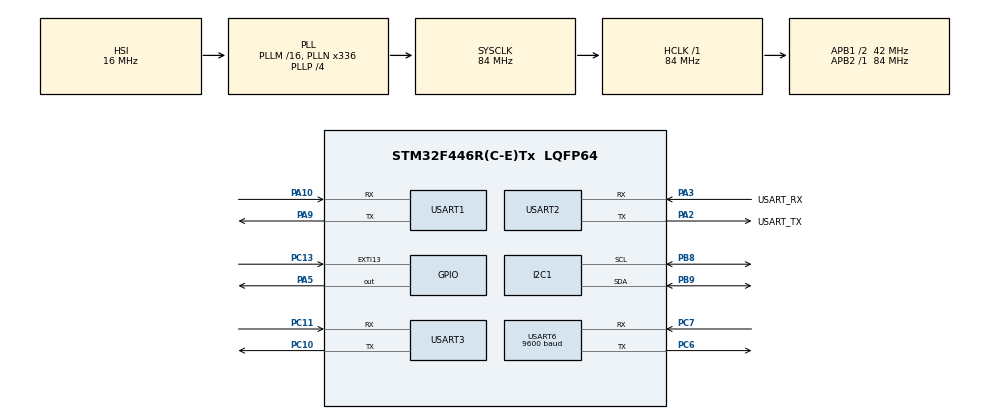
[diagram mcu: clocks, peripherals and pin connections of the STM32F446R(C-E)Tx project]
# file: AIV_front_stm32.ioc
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I2C1.I2C_Mode=I2C_Fast
Mcu.Family=STM32F4
Mcu.Name=STM32F446R(C-E)Tx
Mcu.Package=LQFP64
NUCLEO-F446RE.BUTTON=1
NUCLEO-F446RE.LD1=true
NVIC.EXTI15_10_IRQn=true\:0\:0\:false\:false\:true\:false\:true\:true
NVIC.PriorityGroup=NVIC_PRIORITYGROUP_0
NVIC.USART1_IRQn=true\:0\:0\:false\:false\:true\:true\:true\:true
NVIC.USART2_IRQn=true\:0\:0\:false\:false\:true\:true\:true\:true
NVIC.USART3_IRQn=true\:0\:0\:false\:false\:true\:true\:true\:true
NVIC.USART6_IRQn=true\:0\:0\:false\:false\:true\:true\:true\:true
PA10.Mode=Asynchronous
PA10.Signal=USART1_RX
PA13.GPIO_Label=TMS
PA13.Signal=SYS_JTMS-SWDIO
PA14.GPIO_Label=TCK
PA14.Signal=SYS_JTCK-SWCLK
PA2.GPIO_Label=USART_TX
PA2.Mode=Asynchronous
PA2.Signal=USART2_TX
PA3.GPIO_Label=USART_RX
PA3.Mode=Asynchronous
PA3.Signal=USART2_RX
PA5.Signal=GPIO_Output
PA9.Mode=Asynchronous
PA9.Signal=USART1_TX
PB3.GPIO_Label=SWO
PB3.Signal=SYS_JTDO-SWO
PB8.Mode=I2C
PB8.Signal=I2C1_SCL
PB9.Mode=I2C
PB9.Signal=I2C1_SDA
PC10.Mode=Asynchronous
PC10.Signal=USART3_TX
PC11.Mode=Asynchronous
PC11.Signal=USART3_RX
PC13.Signal=GPXTI13
PC14-OSC32_IN.Signal=RCC_OSC32_IN
PC15-OSC32_OUT.Signal=RCC_OSC32_OUT
PC6.Mode=Asynchronous
PC6.Signal=USART6_TX
PC7.Mode=Asynchronous
PC7.Signal=USART6_RX
PH0-OSC_IN.Signal=RCC_OSC_IN
PH1-OSC_OUT.Signal=RCC_OSC_OUT
ProjectManager.HeapSize=0x200
ProjectManager.StackSize=0x400
ProjectManager.TargetToolchain=STM32CubeIDE
RCC.AHBFreq_Value=84000000
RCC.APB1CLKDivider=RCC_HCLK_DIV2
RCC.APB1Freq_Value=42000000
RCC.APB1TimFreq_Value=84000000
RCC.APB2Freq_Value=84000000
RCC.APB2TimFreq_Value=84000000
RCC.CortexFreq_Value=84000000
RCC.FLatency-AdvancedSettings=FLASH_LATENCY_2
RCC.HCLKFreq_Value=84000000
RCC.HSE_VALUE=8000000
RCC.HSI_VALUE=16000000
RCC.LSE_VALUE=32768
RCC.PLLN=336
RCC.PLLP=RCC_PLLP_DIV4
RCC.SYSCLKFreq_VALUE=84000000
RCC.SYSCLKSource=RCC_SYSCLKSOURCE_PLLCLK
RCC.USBFreq_Value=168000000
RCC.VCOOutputFreq_Value=336000000
USART1.VirtualMode=VM_ASYNC
USART2.VirtualMode=VM_ASYNC
USART3.VirtualMode=VM_ASYNC
USART6.BaudRate=9600
USART6.VirtualMode=VM_ASYNC
VP_NUCLEO-F446RE_VS_BSP_COMMON.Mode=COMMON
board=NUCLEO-F446RE

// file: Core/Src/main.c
/* USER CODE BEGIN Header */
/**
  ******************************************************************************
  * @file           : main.c
  * @brief          : 전방차 STM32 (NUCLEO-F446RE) - IMU/OBD -> RPi4 이진 프레임 송신
  *
  *  후방차 v10 펌웨어에서 레이더(MCP2515/SPI)만 뺀 버전.
  *  - IMU  : USART3 (PC10/PC11) 115200, imu_uart.c 파서
  *  - OBD  : USART6 (PC6/PC7) 9600 (혼다는 응답 없음 -> 3초 주기 저속 폴링, 속도는 GPS 폴백 예정)
  *  - RPi4 : USART1 (PA9/PA10) 115200, 프레임 규격 v0.2 (0x10/0x11/0x13/0x14)
  *  - OLED : I2C1 (PB8 SCL / PB9 SDA), 주소 0x3C
  *  - 디버그: USART2 (ST-Link 가상 COM) 115200
  *  - 워치독 IWDG 약 40ms, 메인 루프 논블로킹
  ******************************************************************************
  */
/* USER CODE END Header */
#include "main.h"

/* USER CODE BEGIN Includes */
#include <string.h>
#include <stdio.h>
#include <stdlib.h>
#include <math.h>
#include "imu_uart.h"
#include "ssd1306.h"    /* OLED (I2C1, 주소 0x3C) */
#include "ssd1306_fonts.h"
/* USER CODE END Includes */

I2C_HandleTypeDef hi2c1;

UART_HandleTypeDef huart1;
UART_HandleTypeDef huart2;
UART_HandleTypeDef huart3;
UART_HandleTypeDef huart6;

/* USER CODE BEGIN PV */
/* IMU 값 출력 주기(200ms)용 */
uint32_t last_imu_print_ms = 0;

/* OBD 자차 속도 (혼다는 OBD 미동작 -> 대부분 "값 없음") */
uint8_t  last_ego_speed_kmh = 0;
uint32_t last_ego_speed_ms  = 0;
uint32_t last_obd_poll = 0;
uint8_t  obd_fail_count = 0;
uint8_t  reset_cause = 2;              /* 0=전원 켬, 1=워치독 리셋, 2=그 외 (HEARTBEAT용) */
uint8_t  oled_ok = 0;                  /* I2C 스캔에서 0x3C가 잡히면 1 */

/* 워치독(IWDG): 메인 루프가 40ms 넘게 멈추면 강제 리셋 (팀 규칙 6: 40ms 기준 임의 변경 금지) */
#define ENABLE_IWDG       1
#define WDG_TEST_HANG_MS  0     /* 0=끔. 예: 15000 이면 부팅 15초 뒤 일부러 멈춰 워치독 시험 */
uint32_t last_oled_ms = 0;
uint32_t oled_retry_ms = 0;           /* [front v4b] OLED 가 꺼져 있을 때 다음 복구 시도 시각 */
uint32_t oled_fail_total = 0;         /* [front v4b] OLED 통신 실패로 OLED 를 끈 누적 횟수 */
uint32_t oled_retry_total = 0;        /* [front v4b] 복구 시도 누적 횟수 */
uint32_t oled_retry_ok_total = 0;     /* [front v4b] 복구 성공 누적 횟수 */
uint32_t oled_push_total = 0;         /* [front v4b] 화면 한 장(전 페이지) 전송 완료 누적 횟수 */
uint32_t oled_stat_ms = 0;            /* [front v4b] OLEDSTAT 출력 시각 */
static uint8_t oled_page = 0xFF;      /* 화면 전송 진행: 0~(페이지수-1)=전송 중, 그 이상=대기 */
#define OLED_PAGES (SSD1306_HEIGHT / 8)
/* USER CODE END PV */

void SystemClock_Config(void);
static void MX_GPIO_Init(void);
static void MX_USART1_UART_Init(void);
static void MX_USART6_UART_Init(void);
static void MX_USART3_UART_Init(void);
static void MX_USART2_UART_Init(void);
static void MX_I2C1_Init(void);
/* USER CODE BEGIN PFP */
void obd_init(void);
void obd_poll_task(void);
void obd_rx_start(void);
void obd_rx_byte_isr(uint32_t now);
void oled_update(void);
void proto_task(void);
void dbg_tx(const uint8_t *p, uint16_t len, uint32_t unused);
void oled_push_step(void);
void ssd1306_UpdatePage(uint8_t page);   /* ssd1306.c에 추가한 함수 */
/* [front v4b] OLED I2C 보호/복구 (ssd1306.c 에 추가한 것들) */
void ssd1306_InitFast(void);
void ssd1306_ClearI2cError(void);
extern volatile uint8_t  ssd1306_i2c_err;
extern volatile uint32_t ssd1306_i2c_err_cnt;
extern volatile uint32_t ssd1306_i2c_hal_err;
extern volatile uint8_t  ssd1306_i2c_hal_st;
static void oled_i2c_bus_recover(void);
static void oled_try_recover(void);
void proto_send_obd(void);
/* USER CODE END PFP */

int main(void)
{

  /* MCU Configuration--------------------------------------------------------*/

  /* Reset of all peripherals, Initializes the Flash interface and the Systick. */
  HAL_Init();

  /* Configure the system clock */
  SystemClock_Config();

  /* Initialize all configured peripherals */
  MX_GPIO_Init();
  MX_USART1_UART_Init();
  MX_USART6_UART_Init();
  MX_USART3_UART_Init();
  MX_USART2_UART_Init();
  MX_I2C1_Init();
  /* USER CODE BEGIN 2 */
  /* [LED 진단] LD2(PA5) 켬 -> 여기까지 도달했다는 표시 */
  {
    GPIO_InitTypeDef led_gpio = {0};
    __HAL_RCC_GPIOA_CLK_ENABLE();
    led_gpio.Pin = GPIO_PIN_5;
    led_gpio.Mode = GPIO_MODE_OUTPUT_PP;
    led_gpio.Pull = GPIO_NOPULL;
    led_gpio.Speed = GPIO_SPEED_FREQ_LOW;
    HAL_GPIO_Init(GPIOA, &led_gpio);
    HAL_GPIO_WritePin(GPIOA, GPIO_PIN_5, GPIO_PIN_SET);
  }

  /* 리셋 원인 기록(HEARTBEAT에 실어 보냄) 후 플래그 클리어 */
  if (RCC->CSR & RCC_CSR_IWDGRSTF)                         reset_cause = 1;
  else if (RCC->CSR & (RCC_CSR_PORRSTF | RCC_CSR_BORRSTF)) reset_cause = 0;
  else                                                     reset_cause = 2;
  __HAL_RCC_CLEAR_RESET_FLAGS();

  /* 디버그 출력(USART2)/RPi 링크(USART1) 송신은 인터럽트 큐 방식: 출력 때문에 메인 루프가 멈추지 않게 함 */
  HAL_NVIC_SetPriority(USART2_IRQn, 7, 0);
  HAL_NVIC_EnableIRQ(USART2_IRQn);
  HAL_NVIC_SetPriority(USART1_IRQn, 6, 0);
  HAL_NVIC_EnableIRQ(USART1_IRQn);

  /* 리셋 원인 출력 (워치독 리셋이면 IWDG로 표시됨) */
  {
    char rc[40];
    int rl = sprintf(rc, "RESET CAUSE: %s\r\n", reset_cause == 1 ? "IWDG (watchdog)" : (reset_cause == 0 ? "power-on" : "other/pin"));
    dbg_tx((uint8_t*)rc, rl, 0);
  }
  { char fw[] = "FW front v4b (OLED I2C guard + diag)\r\n"; dbg_tx((uint8_t*)fw, strlen(fw), 0); }

  { char boot1[] = "BOOT1 (FRONT)\r\n"; dbg_tx((uint8_t*)boot1, strlen(boot1), 100); }

  /* 전원 안정화 대기 (디스플레이 부팅 시간 확보) */
  HAL_Delay(2000);

  /* I2C1 버스 주소 스캔 - OLED(0x3C)가 응답하는지 확인 */
  {
    char scan_msg[64];
    int scan_len;
    uint8_t found_any = 0;

    /* [front v4b] 스캔 전에 I2C 버스를 풀어 준다: OLED 가 이전 재시작 때 통신 중간에 멈춰 SDA 를 붙잡고 있어도 풀림 */
    oled_i2c_bus_recover();

    char start_msg[] = "\r\n--- I2C1 Scan Start ---\r\n";
    dbg_tx((uint8_t*)start_msg, strlen(start_msg), 100);

    for (uint8_t addr = 1; addr < 128; addr++)
    {
      if (HAL_I2C_IsDeviceReady(&hi2c1, (uint16_t)(addr << 1), 1, 10) == HAL_OK)
      {
        scan_len = sprintf(scan_msg, "Found I2C device at 0x%02X\r\n", addr);
        dbg_tx((uint8_t*)scan_msg, scan_len, 100);
        found_any = 1;
        if (addr == 0x3C) oled_ok = 1;
      }
    }
    if (!found_any)
    {
      char none_msg[] = "No I2C device found on I2C1. Check wiring (SCL=PB8, SDA=PB9).\r\n";
      dbg_tx((uint8_t*)none_msg, strlen(none_msg), 100);
    }
    char end_msg[] = "--- I2C1 Scan End ---\r\n\r\n";
    dbg_tx((uint8_t*)end_msg, strlen(end_msg), 100);
  }

  /* OLED 초기화 + 부팅 화면 (0x3C가 잡혔을 때만) */
  if (oled_ok)
  {
    ssd1306_Init();
    ssd1306_Fill(Black);
    ssd1306_SetCursor(0, 0);
    ssd1306_WriteString("AIV FRONT", Font_11x18, White);
    ssd1306_SetCursor(0, 24);
    ssd1306_WriteString("booting...", Font_7x10, White);
    ssd1306_UpdateScreen();
    if (ssd1306_i2c_err)   /* [front v4b] 초기화 중 통신 실패 -> OLED 만 끄고 계속 진행 (주기적으로 복구 시도) */
    {
      oled_ok = 0;
      oled_fail_total++;
      char f[48]; int fl = sprintf(f, "OLED I2C FAIL at boot err=%u\r\n", (unsigned)ssd1306_i2c_err);
      dbg_tx((uint8_t*)f, fl, 0);
    }
  }
  oled_retry_ms = HAL_GetTick() + 3000;   /* [front v4b] OLED 가 꺼져 있으면 3초 뒤부터 복구 시도 */

  /* IMU 초기화 - USART3(huart3, PC10/PC11), 인터럽트 기반 1바이트씩 수신 (모듈 TX -> PC11) */
  IMU_UART_Init(&huart3);
  { char m[] = "IMU UART init done\r\n"; dbg_tx((uint8_t*)m, strlen(m), 100); }

  /* OBD(Seeed Serial CAN-BUS 모듈) 초기화 - USART6(PC6/PC7) */
  obd_init();
  HAL_NVIC_SetPriority(USART6_IRQn, 6, 0);
  HAL_NVIC_EnableIRQ(USART6_IRQn);
  obd_rx_start();
  { char m[] = "OBD-II init done\r\n"; dbg_tx((uint8_t*)m, strlen(m), 100); }

  /* USER CODE END 2 */

  /* Initialize leds */
  BSP_LED_Init(LED2);

  /* Initialize USER push-button, will be used to trigger an interrupt each time it's pressed.*/
  BSP_PB_Init(BUTTON_USER, BUTTON_MODE_EXTI);

  /* Infinite loop */
  /* USER CODE BEGIN WHILE */
#if ENABLE_IWDG
  /* 독립 워치독 시작: LSI 32kHz / 4 = 8kHz, 리로드 320 -> 약 40ms.
     (LSI 실제 주파수 편차로 약 27~75ms 범위. 루프 최대 소요가 9ms 수준이라 여유 있음)
     초기화(부팅 대기, 스캔 등)가 다 끝난 뒤, 메인 루프 바로 앞에서 시작한다. */
  IWDG->KR  = 0xCCCC;   /* 시작 */
  IWDG->KR  = 0x5555;   /* 설정 레지스터 쓰기 허용 */
  IWDG->PR  = 0;        /* 분주 /4 */
  IWDG->RLR = 319;      /* 320 카운트 */
  {
    uint32_t wt = HAL_GetTick();
    while (IWDG->SR != 0 && (HAL_GetTick() - wt) < 50) { }
  }
  IWDG->KR  = 0xAAAA;   /* 첫 kick */
  /* 디버거로 멈췄을 때(브레이크포인트 등) 워치독이 리셋을 걸지 않도록 정지 */
#ifdef DBGMCU_APB1_FZ_DBG_IWDG_STOP
  DBGMCU->APB1FZ |= DBGMCU_APB1_FZ_DBG_IWDG_STOP;
#else
  DBGMCU->APB1FZ |= (1u << 12);
#endif
#endif
  while (1)
  {
    /* [LED 진단] 메인 루프에 도달하면 LD2가 0.5초마다 깜빡임 */
    {
      static uint32_t last_led_ms = 0;
      if (HAL_GetTick() - last_led_ms >= 500)
      {
        last_led_ms = HAL_GetTick();
        HAL_GPIO_TogglePin(GPIOA, GPIO_PIN_5);
      }
    }

    /* 루프 1바퀴 최대 소요시간 측정 (5초마다 출력): 워치독 40ms 기준을 맞출 수 있는지 판단용 */
    {
      static uint32_t lp_last = 0, lp_max = 0, lp_rep = 0;
      uint32_t ln = HAL_GetTick();
      if (lp_last != 0 && (ln - lp_last) > lp_max) lp_max = ln - lp_last;
      lp_last = ln;
      if (ln - lp_rep >= 5000)
      {
        lp_rep = ln;
        char lm[40];
        int ll = sprintf(lm, "LOOP max=%lums\r\n", (unsigned long)lp_max);
        dbg_tx((uint8_t*)lm, ll, 100);
        lp_max = 0;
      }
    }

    /* RPi로 보내는 이진 프레임 (논블로킹: 큐에 넣기만 하고 실제 송신은 인터럽트가 처리) */
    proto_task();

    /* IMU(자세각) 출력: 인터럽트로 계속 갱신되는 g_imu 값을 200ms마다 한 번씩 내보냄.
       실시간 수신 자체는 IMU_UART_ByteReceived가 인터럽트에서 알아서 처리하므로
       여기서는 그냥 "지금 값이 뭔지 가끔 찍어보기"만 함. */
    if (HAL_GetTick() - last_imu_print_ms >= 200)
    {
      last_imu_print_ms = HAL_GetTick();
      if (g_imu.angle_updated)
      {
        int roll10  = (int)(g_imu.roll  * 10.0f);
        int pitch10 = (int)(g_imu.pitch * 10.0f);
        int yaw10   = (int)(g_imu.yaw   * 10.0f);
        char msg[100];
        int len = sprintf(msg, "IMU roll=%s%d.%01d pitch=%s%d.%01d yaw=%s%d.%01d bytes=%lu\r\n",
                           (roll10  < 0 ? "-" : ""), (roll10  < 0 ? -roll10  : roll10)  / 10, (roll10  < 0 ? -roll10  : roll10)  % 10,
                           (pitch10 < 0 ? "-" : ""), (pitch10 < 0 ? -pitch10 : pitch10) / 10, (pitch10 < 0 ? -pitch10 : pitch10) % 10,
                           (yaw10   < 0 ? "-" : ""), (yaw10   < 0 ? -yaw10   : yaw10)   / 10, (yaw10   < 0 ? -yaw10   : yaw10)   % 10,
                           g_byte_count);
        dbg_tx((uint8_t*)msg, len, 100);
      }
      else
      {
        char msg[] = "IMU waiting for data...\r\n";
        dbg_tx((uint8_t*)msg, strlen(msg), 100);
      }
    }

    /* [front v4b] 5초마다 OLED 상태 한 줄 (조용히 실패하는 일이 없도록) */
    if (HAL_GetTick() - oled_stat_ms >= 5000)
    {
        oled_stat_ms = HAL_GetTick();
        char st[160];
        int sl = sprintf(st, "OLEDSTAT ok=%u pushes=%lu fails=%lu retries=%lu retry_ok=%lu err=%u hal_err=0x%lX t=%lu\r\n",
                         (unsigned)oled_ok, (unsigned long)oled_push_total, (unsigned long)oled_fail_total,
                         (unsigned long)oled_retry_total, (unsigned long)oled_retry_ok_total,
                         (unsigned)ssd1306_i2c_err, (unsigned long)ssd1306_i2c_hal_err, (unsigned long)HAL_GetTick());
        dbg_tx((uint8_t*)st, sl, 0);
    }

    /* OLED 화면 갱신 (500ms마다) */
    /* 그림은 500ms마다 새로 그리고, 화면 전송은 한 바퀴에 한 줄(페이지)씩 나눠서 한다 (약 3ms씩) */
    if (oled_ok)
    {
      if (oled_page >= OLED_PAGES)
      {
        if (HAL_GetTick() - last_oled_ms >= 500)
        {
          last_oled_ms = HAL_GetTick();
          oled_update();   /* 버퍼에 그리기만 함 (전송은 아래 oled_push_step) */
        }
      }
      else
      {
        oled_push_step();
      }

      /* [front v4b] OLED 통신 실패 -> OLED 만 끄고 STM32 는 계속 동작 */
      if (ssd1306_i2c_err)
      {
        oled_ok = 0;
        oled_page = 0xFF;
        oled_fail_total++;
        oled_retry_ms = HAL_GetTick() + 1000;
        char f[96];
        int fl = sprintf(f, "OLED I2C FAIL err=%u hal=%u i2cerr=0x%lX cnt=%lu t=%lu\r\n",
                         (unsigned)ssd1306_i2c_err, (unsigned)ssd1306_i2c_hal_st,
                         (unsigned long)ssd1306_i2c_hal_err, (unsigned long)ssd1306_i2c_err_cnt,
                         (unsigned long)HAL_GetTick());
        dbg_tx((uint8_t*)f, fl, 0);
      }
    }
    else if (HAL_GetTick() >= oled_retry_ms)
    {
      oled_try_recover();   /* [front v4b] 꺼진 OLED 를 3초마다 한 번씩 되살려 본다 (1~수 ms) */
    }

    /* OBD-II 속도 폴링 (논블로킹) */
    obd_poll_task();

    /* USER CODE END WHILE */

    /* USER CODE BEGIN 3 */
#if ENABLE_IWDG
    IWDG->KR = 0xAAAA;   /* 워치독 kick: 루프 한 바퀴가 정상적으로 끝났을 때만 */
#endif

#if WDG_TEST_HANG_MS
    if (HAL_GetTick() > WDG_TEST_HANG_MS)
    {
      char hm[] = "WDG TEST: hanging on purpose\r\n";
      dbg_tx((uint8_t*)hm, strlen(hm), 0);
      while (1) { }   /* kick 안 함 -> 약 40ms 뒤 리셋되어야 함 */
    }
#endif
  }
  /* USER CODE END 3 */
}

void SystemClock_Config(void)
{
  RCC_OscInitTypeDef RCC_OscInitStruct = {0};
  RCC_ClkInitTypeDef RCC_ClkInitStruct = {0};

  /** Configure the main internal regulator output voltage
  */
  __HAL_RCC_PWR_CLK_ENABLE();
  __HAL_PWR_VOLTAGESCALING_CONFIG(PWR_REGULATOR_VOLTAGE_SCALE3);

  /** Initializes the RCC Oscillators according to the specified parameters
  * in the RCC_OscInitTypeDef structure.
  */
  RCC_OscInitStruct.OscillatorType = RCC_OSCILLATORTYPE_HSI;
  RCC_OscInitStruct.HSIState = RCC_HSI_ON;
  RCC_OscInitStruct.HSICalibrationValue = RCC_HSICALIBRATION_DEFAULT;
  RCC_OscInitStruct.PLL.PLLState = RCC_PLL_ON;
  RCC_OscInitStruct.PLL.PLLSource = RCC_PLLSOURCE_HSI;
  RCC_OscInitStruct.PLL.PLLM = 16;
  RCC_OscInitStruct.PLL.PLLN = 336;
  RCC_OscInitStruct.PLL.PLLP = RCC_PLLP_DIV4;
  RCC_OscInitStruct.PLL.PLLQ = 2;
  RCC_OscInitStruct.PLL.PLLR = 2;
  if (HAL_RCC_OscConfig(&RCC_OscInitStruct) != HAL_OK)
  {
    Error_Handler();
  }

  /** Initializes the CPU, AHB and APB buses clocks
  */
  RCC_ClkInitStruct.ClockType = RCC_CLOCKTYPE_HCLK|RCC_CLOCKTYPE_SYSCLK
                              |RCC_CLOCKTYPE_PCLK1|RCC_CLOCKTYPE_PCLK2;
  RCC_ClkInitStruct.SYSCLKSource = RCC_SYSCLKSOURCE_PLLCLK;
  RCC_ClkInitStruct.AHBCLKDivider = RCC_SYSCLK_DIV1;
  RCC_ClkInitStruct.APB1CLKDivider = RCC_HCLK_DIV2;
  RCC_ClkInitStruct.APB2CLKDivider = RCC_HCLK_DIV1;

  if (HAL_RCC_ClockConfig(&RCC_ClkInitStruct, FLASH_LATENCY_2) != HAL_OK)
  {
    Error_Handler();
  }
}

static void MX_I2C1_Init(void)
{

  hi2c1.Instance = I2C1;
  hi2c1.Init.ClockSpeed = 400000;
  hi2c1.Init.DutyCycle = I2C_DUTYCYCLE_2;
  hi2c1.Init.OwnAddress1 = 0;
  hi2c1.Init.AddressingMode = I2C_ADDRESSINGMODE_7BIT;
  hi2c1.Init.DualAddressMode = I2C_DUALADDRESS_DISABLE;
  hi2c1.Init.OwnAddress2 = 0;
  hi2c1.Init.GeneralCallMode = I2C_GENERALCALL_DISABLE;
  hi2c1.Init.NoStretchMode = I2C_NOSTRETCH_DISABLE;
  if (HAL_I2C_Init(&hi2c1) != HAL_OK)
  {
    Error_Handler();
  }

}

static void MX_USART1_UART_Init(void)
{

  huart1.Instance = USART1;
  huart1.Init.BaudRate = 115200;
  huart1.Init.WordLength = UART_WORDLENGTH_8B;
  huart1.Init.StopBits = UART_STOPBITS_1;
  huart1.Init.Parity = UART_PARITY_NONE;
  huart1.Init.Mode = UART_MODE_TX_RX;
  huart1.Init.HwFlowCtl = UART_HWCONTROL_NONE;
  huart1.Init.OverSampling = UART_OVERSAMPLING_16;
  if (HAL_UART_Init(&huart1) != HAL_OK)
  {
    Error_Handler();
  }

}

static void MX_USART2_UART_Init(void)
{

  huart2.Instance = USART2;
  huart2.Init.BaudRate = 115200;
  huart2.Init.WordLength = UART_WORDLENGTH_8B;
  huart2.Init.StopBits = UART_STOPBITS_1;
  huart2.Init.Parity = UART_PARITY_NONE;
  huart2.Init.Mode = UART_MODE_TX_RX;
  huart2.Init.HwFlowCtl = UART_HWCONTROL_NONE;
  huart2.Init.OverSampling = UART_OVERSAMPLING_16;
  if (HAL_UART_Init(&huart2) != HAL_OK)
  {
    Error_Handler();
  }

}

static void MX_USART3_UART_Init(void)
{

  huart3.Instance = USART3;
  huart3.Init.BaudRate = 115200;
  huart3.Init.WordLength = UART_WORDLENGTH_8B;
  huart3.Init.StopBits = UART_STOPBITS_1;
  huart3.Init.Parity = UART_PARITY_NONE;
  huart3.Init.Mode = UART_MODE_TX_RX;
  huart3.Init.HwFlowCtl = UART_HWCONTROL_NONE;
  huart3.Init.OverSampling = UART_OVERSAMPLING_16;
  if (HAL_UART_Init(&huart3) != HAL_OK)
  {
    Error_Handler();
  }

}

static void MX_USART6_UART_Init(void)
{

  huart6.Instance = USART6;
  huart6.Init.BaudRate = 9600;
  huart6.Init.WordLength = UART_WORDLENGTH_8B;
  huart6.Init.StopBits = UART_STOPBITS_1;
  huart6.Init.Parity = UART_PARITY_NONE;
  huart6.Init.Mode = UART_MODE_TX_RX;
  huart6.Init.HwFlowCtl = UART_HWCONTROL_NONE;
  huart6.Init.OverSampling = UART_OVERSAMPLING_16;
  if (HAL_UART_Init(&huart6) != HAL_OK)
  {
    Error_Handler();
  }

}

static void MX_GPIO_Init(void)
{

  /* GPIO Ports Clock Enable */
  __HAL_RCC_GPIOC_CLK_ENABLE();
  __HAL_RCC_GPIOH_CLK_ENABLE();
  __HAL_RCC_GPIOA_CLK_ENABLE();
  __HAL_RCC_GPIOB_CLK_ENABLE();

}

/* USER CODE BEGIN 4 */
/* IMU 모듈이 1바이트씩 보낼 때마다 HAL이 자동으로 호출해주는 콜백.
   USART3(huart3, PC10/PC11)로 들어온 바이트만 imu_uart.c의 파서로 넘긴다. */
void HAL_UART_RxCpltCallback(UART_HandleTypeDef *huart)
{
  if (huart->Instance == USART3)
  {
    IMU_UART_ByteReceived(huart);
  }
  else if (huart->Instance == USART6)
  {
    obd_rx_byte_isr(HAL_GetTick());
  }
}

/* ===== OLED 표시 =====
   128x64 화면, 6x8 폰트 -> 한 줄 21글자, 7줄 표시.
   값 x10 정수를 "-12.3" 형태 문자열로 만드는 도우미 (nano.specs가 %f 미지원이라 정수로 처리) */
static void fmt10(char *out, int v10)
{
    int a = (v10 < 0) ? -v10 : v10;
    sprintf(out, "%s%d.%d", (v10 < 0 ? "-" : ""), a / 10, a % 10);
}

/* ===== [front v4b] OLED I2C 버스 복구 / 재시도 (후방차 v18c 와 같은 방식, I2C1: SCL=PB8, SDA=PB9) =====
   I2C 통신 도중 STM32 가 재시작되거나 노이즈가 끼면 OLED 가 SDA 선을 Low 로 붙잡은 채 멈출 수 있다.
   SCL 을 최대 9번 흔들어 OLED 가 하던 바이트를 끝내게 하고 STOP 조건을 보내면 풀린다. 소요 약 0.2 ms 이하. */
static void oled_us_delay(uint32_t us)
{
    uint32_t n = (SystemCoreClock / 1000000U) * us / 8U + 1U;
    for (volatile uint32_t i = 0; i < n; i++) { }
}

static void oled_i2c_bus_recover(void)
{
    GPIO_InitTypeDef g = {0};
    HAL_I2C_DeInit(&hi2c1);
    __HAL_RCC_GPIOB_CLK_ENABLE();
    g.Mode  = GPIO_MODE_OUTPUT_OD;
    g.Pull  = GPIO_NOPULL;
    g.Speed = GPIO_SPEED_FREQ_LOW;
    g.Pin = GPIO_PIN_8; HAL_GPIO_Init(GPIOB, &g);    /* SCL */
    g.Pin = GPIO_PIN_9; HAL_GPIO_Init(GPIOB, &g);    /* SDA */
    HAL_GPIO_WritePin(GPIOB, GPIO_PIN_8, GPIO_PIN_SET);
    HAL_GPIO_WritePin(GPIOB, GPIO_PIN_9, GPIO_PIN_SET);
    oled_us_delay(10);
    for (uint8_t i = 0; i < 9; i++)
    {
        if (HAL_GPIO_ReadPin(GPIOB, GPIO_PIN_9) == GPIO_PIN_SET) break;
        HAL_GPIO_WritePin(GPIOB, GPIO_PIN_8, GPIO_PIN_RESET); oled_us_delay(5);
        HAL_GPIO_WritePin(GPIOB, GPIO_PIN_8, GPIO_PIN_SET);   oled_us_delay(5);
    }
    HAL_GPIO_WritePin(GPIOB, GPIO_PIN_9, GPIO_PIN_RESET); oled_us_delay(5);
    HAL_GPIO_WritePin(GPIOB, GPIO_PIN_8, GPIO_PIN_SET);   oled_us_delay(5);
    HAL_GPIO_WritePin(GPIOB, GPIO_PIN_9, GPIO_PIN_SET);   oled_us_delay(5);
    HAL_I2C_Init(&hi2c1);
}

static void oled_try_recover(void)
{
    char r[96];
    int rl;
    oled_retry_ms = HAL_GetTick() + 3000;
    oled_retry_total++;
    oled_i2c_bus_recover();
    ssd1306_ClearI2cError();
    if (__HAL_I2C_GET_FLAG(&hi2c1, I2C_FLAG_BUSY))
    {
        rl = sprintf(r, "OLED RETRY #%lu: bus BUSY (SDA/SCL stuck) t=%lu\r\n", (unsigned long)oled_retry_total, (unsigned long)HAL_GetTick());
        dbg_tx((uint8_t*)r, rl, 0);
        return;
    }
    if (HAL_I2C_IsDeviceReady(&hi2c1, (uint16_t)(0x3C << 1), 1, 3) != HAL_OK)
    {
        rl = sprintf(r, "OLED RETRY #%lu: no ACK from 0x3C t=%lu\r\n", (unsigned long)oled_retry_total, (unsigned long)HAL_GetTick());
        dbg_tx((uint8_t*)r, rl, 0);
        return;
    }
    ssd1306_InitFast();
    if (ssd1306_i2c_err)
    {
        rl = sprintf(r, "OLED RETRY #%lu: init write failed err=%u t=%lu\r\n", (unsigned long)oled_retry_total, (unsigned)ssd1306_i2c_err, (unsigned long)HAL_GetTick());
        dbg_tx((uint8_t*)r, rl, 0);
        ssd1306_ClearI2cError();
        return;
    }
    oled_ok = 1;
    oled_page = 0xFF;
    last_oled_ms = 0;
    oled_retry_ok_total++;
    rl = sprintf(r, "OLED RECOVERED t=%lu fails=%lu retries=%lu\r\n", (unsigned long)HAL_GetTick(), (unsigned long)oled_fail_total, (unsigned long)oled_retry_total);
    dbg_tx((uint8_t*)r, rl, 0);
}

/* 화면 버퍼의 한 페이지(128바이트)를 전송: 호출될 때마다 다음 페이지로 넘어간다 */
void oled_push_step(void)
{
    if (oled_page < OLED_PAGES)
    {
        ssd1306_UpdatePage(oled_page);
        oled_page++;
        if (oled_page >= OLED_PAGES && !ssd1306_i2c_err) oled_push_total++;   /* [front v4b] 한 장 전송 완료 */
    }
}

extern volatile uint32_t tx_drop_count;
static uint8_t imu_is_ok(uint32_t now);

void oled_update(void)
{
    char line[48];
    char a[16], b[16], c[16];
    uint32_t now = HAL_GetTick();

    ssd1306_Fill(Black);

    sprintf(line, "AIV FRONT  %s", reset_cause == 1 ? "WDG-RST" : "");
    ssd1306_SetCursor(0, 0);  ssd1306_WriteString(line, Font_6x8, White);

    sprintf(line, "IMU: %s", imu_is_ok(now) ? "OK" : "NO DATA");
    ssd1306_SetCursor(0, 9);  ssd1306_WriteString(line, Font_6x8, White);

    if (last_ego_speed_ms != 0 && (now - last_ego_speed_ms) < 1000)
        sprintf(line, "OBD SPD: %dkm/h", last_ego_speed_kmh);
    else
        sprintf(line, "OBD SPD: --- (none)");
    ssd1306_SetCursor(0, 18); ssd1306_WriteString(line, Font_6x8, White);

    sprintf(line, "RPi TX drop: %lu", (unsigned long)tx_drop_count);
    ssd1306_SetCursor(0, 27); ssd1306_WriteString(line, Font_6x8, White);

    if (g_imu.angle_updated)
    {
        fmt10(a, (int)(g_imu.roll  * 10.0f));
        fmt10(b, (int)(g_imu.pitch * 10.0f));
        fmt10(c, (int)(g_imu.yaw   * 10.0f));
        sprintf(line, "R:%s P:%s", a, b);
        ssd1306_SetCursor(0, 36); ssd1306_WriteString(line, Font_6x8, White);
        sprintf(line, "YAW:%s", c);
        ssd1306_SetCursor(0, 45); ssd1306_WriteString(line, Font_6x8, White);
    }
    else
    {
        ssd1306_SetCursor(0, 36); ssd1306_WriteString("IMU: waiting...", Font_6x8, White);
    }

    oled_page = 0;   /* 이제부터 페이지를 한 줄씩 전송 */
}

/* =====================================================================
   STM32 -> RPi 이진 프레임 송신  (규격: AIV_STM32-RPi_UART_메시지규격_v0.2.md)
   프레임: STX(02) TYPE LEN PAYLOAD XOR(TYPE^LEN^PAYLOAD) ETX(03), 리틀엔디안
   - 송신은 링 버퍼에 넣기만 하고 UART 인터럽트가 뒤에서 내보냄 (메인 루프 블로킹 없음)
   - 버퍼가 가득 차면 그 프레임은 버림(재시도 없음): tx_drop_count 증가
   ===================================================================== */
#define PROTO_STX          0x02
#define PROTO_ETX          0x03
#define PROTO_MAX_PAYLOAD  27
#define TX_BUF_SIZE        512

#define MSG_SENSOR_SUMMARY 0x10
#define MSG_HEARTBEAT      0x11
#define MSG_RADAR_OBJECT   0x12   /* 전방차는 레이더 없음: 사용 안 함 */
#define MSG_IMU_DATA       0x13
#define MSG_OBD_DATA       0x14

/* SENSOR_STATUS 비트 */
#define ST_RADAR_OK    (1u << 0)
#define ST_IMU_OK      (1u << 1)
#define ST_OBD_OK      (1u << 2)
#define ST_CAN_CTRL_OK (1u << 3)
#define ST_SAFE_MODE   (1u << 4)
#define ST_BRAKE       (1u << 5)

/* IMU 차량 기준축 변환 (+X 전방, +Y 좌측, +Z 위). 센서 장착 방향이 확정되면 부호를 맞출 것 */
#define IMU_SIGN_X   (+1)
#define IMU_SIGN_Y   (+1)
#define IMU_SIGN_Z   (+1)

/* 브레이크 추정: 전방 가속도 <= -100mg 가 3샘플(20Hz 기준 150ms) 이어지면 ON, -80mg보다 커지면 OFF (제안값) */
#define BRAKE_ON_MG    (-100)
#define BRAKE_OFF_MG   (-80)
#define BRAKE_ON_COUNT 3

#define SENSOR_TIMEOUT_MS 100   /* 센서 타임아웃 기준 (규칙 5: 임의 변경 금지) */
#define OBD_FRESH_MS      500   /* OBD는 폴링 주기가 ~300ms라 500ms 기준 (제안) */

static uint8_t           tx_buf[TX_BUF_SIZE];
static volatile uint16_t tx_head = 0, tx_tail = 0, tx_chunk = 0;
static volatile uint8_t  tx_busy = 0;
volatile uint32_t        tx_drop_count = 0;   /* 버퍼 가득 참으로 버린 프레임 수(진단용) */

static uint32_t imu_last_bytes_seen = 0;
static uint32_t imu_last_rx_ms = 0;           /* IMU 바이트가 마지막으로 들어온 시각 */
static uint8_t  brake_active = 0;
static uint8_t  brake_cnt = 0;

static void put_u16(uint8_t *p, uint16_t v) { p[0] = (uint8_t)v; p[1] = (uint8_t)(v >> 8); }
static void put_u32(uint8_t *p, uint32_t v) { p[0] = (uint8_t)v; p[1] = (uint8_t)(v >> 8); p[2] = (uint8_t)(v >> 16); p[3] = (uint8_t)(v >> 24); }
static int16_t clamp16(int32_t v) { return (v > 32767) ? 32767 : ((v < -32768) ? -32768 : (int16_t)v); }
static int8_t  clamp8(int32_t v)  { return (v > 127) ? 127 : ((v < -128) ? -128 : (int8_t)v); }

/* 링 버퍼에서 한 덩어리를 꺼내 인터럽트 송신 시작 (인터럽트 금지 상태 또는 ISR에서 호출) */
static void uart_tx_kick(void)
{
    if (tx_busy || tx_head == tx_tail) return;
    uint16_t len = (tx_head > tx_tail) ? (uint16_t)(tx_head - tx_tail) : (uint16_t)(TX_BUF_SIZE - tx_tail);
    if (HAL_UART_Transmit_IT(&huart1, &tx_buf[tx_tail], len) == HAL_OK)
    {
        tx_chunk = len;
        tx_busy = 1;
    }
}

/* 프레임을 만들어 송신 큐에 넣는다. 성공 1, 버퍼 부족/길이 오류로 버림 0. 절대 기다리지 않는다. */
static uint8_t proto_send(uint8_t type, const uint8_t *payload, uint8_t len)
{
    if (len > PROTO_MAX_PAYLOAD) return 0;

    uint8_t frame[5 + PROTO_MAX_PAYLOAD];
    uint8_t chk = (uint8_t)(type ^ len);
    frame[0] = PROTO_STX;
    frame[1] = type;
    frame[2] = len;
    for (uint8_t i = 0; i < len; i++) { frame[3 + i] = payload[i]; chk ^= payload[i]; }
    frame[3 + len] = chk;
    frame[4 + len] = PROTO_ETX;
    uint16_t total = (uint16_t)(len + 5);

    uint32_t primask = __get_PRIMASK();
    __disable_irq();
    uint16_t used = (uint16_t)((tx_head - tx_tail + TX_BUF_SIZE) % TX_BUF_SIZE);
    uint16_t freesp = (uint16_t)(TX_BUF_SIZE - 1 - used);
    if (freesp < total)
    {
        tx_drop_count++;
        __set_PRIMASK(primask);
        return 0;
    }
    for (uint16_t i = 0; i < total; i++)
    {
        tx_buf[tx_head] = frame[i];
        tx_head = (uint16_t)((tx_head + 1) % TX_BUF_SIZE);
    }
    uart_tx_kick();
    __set_PRIMASK(primask);
    return 1;
}

/* ---- 디버그 텍스트(USART2) 논블로킹 송신 ----
   HAL_UART_Transmit은 전송이 끝날 때까지 기다려서 메인 루프를 수 ms씩 멈췄다.
   지금은 링 버퍼에 복사만 하고 실제 송신은 인터럽트가 한다. 가득 차면 그 메시지는 버림(디버그용이라 무방). */
#define DBG_BUF_SIZE 1024
static uint8_t           dbg_buf[DBG_BUF_SIZE];
static volatile uint16_t dbg_head = 0, dbg_tail = 0, dbg_chunk = 0;
static volatile uint8_t  dbg_busy = 0;
volatile uint32_t        dbg_drop_count = 0;

static void dbg_kick(void)
{
    if (dbg_busy || dbg_head == dbg_tail) return;
    uint16_t len = (dbg_head > dbg_tail) ? (uint16_t)(dbg_head - dbg_tail) : (uint16_t)(DBG_BUF_SIZE - dbg_tail);
    if (HAL_UART_Transmit_IT(&huart2, &dbg_buf[dbg_tail], len) == HAL_OK)
    {
        dbg_chunk = len;
        dbg_busy = 1;
    }
}

void dbg_tx(const uint8_t *p, uint16_t len, uint32_t unused)
{
    (void)unused;
    uint32_t primask = __get_PRIMASK();
    __disable_irq();
    uint16_t used = (uint16_t)((dbg_head - dbg_tail + DBG_BUF_SIZE) % DBG_BUF_SIZE);
    uint16_t freesp = (uint16_t)(DBG_BUF_SIZE - 1 - used);
    if (freesp < len)
    {
        dbg_drop_count++;
        __set_PRIMASK(primask);
        return;
    }
    for (uint16_t i = 0; i < len; i++)
    {
        dbg_buf[dbg_head] = p[i];
        dbg_head = (uint16_t)((dbg_head + 1) % DBG_BUF_SIZE);
    }
    dbg_kick();
    __set_PRIMASK(primask);
}

/* 송신 한 덩어리 완료 -> 꼬리 이동 후 남은 게 있으면 이어서 송신 */
void HAL_UART_TxCpltCallback(UART_HandleTypeDef *huart)
{
    if (huart->Instance == USART1)
    {
        tx_tail = (uint16_t)((tx_tail + tx_chunk) % TX_BUF_SIZE);
        tx_busy = 0;
        uart_tx_kick();
    }
    else if (huart->Instance == USART2)
    {
        dbg_tail = (uint16_t)((dbg_tail + dbg_chunk) % DBG_BUF_SIZE);
        dbg_busy = 0;
        dbg_kick();
    }
}

/* UART 오류: RPi 링크는 현재 덩어리를 포기하고 계속, IMU는 수신을 다시 시작(오버런 시 수신이 멈추기 때문) */
void HAL_UART_ErrorCallback(UART_HandleTypeDef *huart)
{
    if (huart->Instance == USART1)
    {
        tx_tail = (uint16_t)((tx_tail + tx_chunk) % TX_BUF_SIZE);
        tx_busy = 0;
        tx_chunk = 0;
        uart_tx_kick();
    }
    else if (huart->Instance == USART3)
    {
        IMU_UART_Init(&huart3);
    }
    else if (huart->Instance == USART6)
    {
        obd_rx_start();   /* OBD 수신 오류(오버런 등) 후 수신 재시작 */
    }
    else if (huart->Instance == USART2)
    {
        dbg_tail = (uint16_t)((dbg_tail + dbg_chunk) % DBG_BUF_SIZE);
        dbg_busy = 0;
        dbg_chunk = 0;
        dbg_kick();
    }
}

static uint8_t imu_is_ok(uint32_t now)  { return (imu_last_rx_ms != 0) && ((now - imu_last_rx_ms) <= SENSOR_TIMEOUT_MS); }
static uint8_t obd_is_ok(uint32_t now)  { return (last_ego_speed_ms != 0) && ((now - last_ego_speed_ms) <= OBD_FRESH_MS); }

/* 전방차: 레이더/CAN 컨트롤러 없음 -> RADAR_OK, CAN_CTRL_OK 비트는 항상 0.
   IMU가 끊기면 SAFE_MODE. */
static uint8_t build_sensor_status(uint32_t now)
{
    uint8_t st = 0;
    uint8_t imu_ok = imu_is_ok(now);
    if (imu_ok)         st |= ST_IMU_OK;
    if (obd_is_ok(now)) st |= ST_OBD_OK;
    if (!imu_ok)        st |= ST_SAFE_MODE;
    if (brake_active)   st |= ST_BRAKE;
    return st;
}

/* 0x14 OBD_DATA */
void proto_send_obd(void)
{
    uint32_t now = HAL_GetTick();
    uint8_t p[5];
    if (last_ego_speed_ms != 0)
    {
        uint32_t age = now - last_ego_speed_ms;
        p[0] = last_ego_speed_kmh;
        put_u16(&p[3], (uint16_t)((age > 0xFFFE) ? 0xFFFE : age));
    }
    else
    {
        p[0] = 0xFF;
        put_u16(&p[3], 0xFFFF);
    }
    put_u16(&p[1], 0xFFFF);   /* RPM: 아직 폴링 안 함(PID 0x0C 미구현) */
    proto_send(MSG_OBD_DATA, p, 5);
}

/* 주기 송신: 50Hz SENSOR_SUMMARY, 10Hz HEARTBEAT, 20Hz IMU_DATA. 메인 루프에서 매번 호출(즉시 리턴). */
void proto_task(void)
{
    static uint32_t t_sum = 0, t_hb = 0, t_imu = 0;
    uint32_t now = HAL_GetTick();

    /* IMU 수신 신선도: 바이트 카운터가 움직이면 데이터가 들어오는 중 */
    if (g_byte_count != imu_last_bytes_seen)
    {
        imu_last_bytes_seen = g_byte_count;
        imu_last_rx_ms = (now == 0) ? 1 : now;
    }

    /* 0x10 SENSOR_SUMMARY (50Hz = 20ms) */
    if (now - t_sum >= 20)
    {
        t_sum = now;
        uint16_t tgt = 0xFFFF;             /* 전방차: 레이더 없음 -> 목표거리 없음 */
        int16_t  rel = 0x7FFF;
        uint8_t p[11];
        put_u32(&p[0], now);
        p[4] = 0xFF;                       /* K_VALUE: 계산 로직 미구현 -> 0xFF(계산 안 됨) */
        put_u16(&p[5], tgt);
        put_u16(&p[7], (uint16_t)rel);
        p[9] = 0xFF;                       /* DANGER_FLAG: 판단 로직 미구현 -> 0xFF(판단 불가) */
        p[10] = build_sensor_status(now);
        proto_send(MSG_SENSOR_SUMMARY, p, 11);
    }

    /* 0x11 HEARTBEAT (10Hz = 100ms) */
    if (now - t_hb >= 100)
    {
        t_hb = now;
        uint8_t p[6];
        put_u32(&p[0], now);
        p[4] = build_sensor_status(now);
        p[5] = reset_cause;
        proto_send(MSG_HEARTBEAT, p, 6);
    }

    /* 0x13 IMU_DATA (20Hz = 50ms) + 브레이크 추정 */
    if (now - t_imu >= 50)
    {
        t_imu = now;
        uint8_t imu_ok = imu_is_ok(now);

        int16_t ax = clamp16((int32_t)(IMU_SIGN_X * g_imu.accel_x * 1000.0f));
        int16_t ay = clamp16((int32_t)(IMU_SIGN_Y * g_imu.accel_y * 1000.0f));
        int16_t az = clamp16((int32_t)(IMU_SIGN_Z * g_imu.accel_z * 1000.0f));
        int16_t gx = clamp16((int32_t)(IMU_SIGN_X * g_imu.gyro_x * 10.0f));
        int16_t gy = clamp16((int32_t)(IMU_SIGN_Y * g_imu.gyro_y * 10.0f));
        int16_t gz = clamp16((int32_t)(IMU_SIGN_Z * g_imu.gyro_z * 10.0f));
        int16_t ro = clamp16((int32_t)(g_imu.roll  * 10.0f));
        int16_t pi = clamp16((int32_t)(g_imu.pitch * 10.0f));
        int16_t ya = clamp16((int32_t)(g_imu.yaw   * 10.0f));

        if (imu_ok)
        {
            if (ax <= BRAKE_ON_MG)
            {
                if (brake_cnt < 255) brake_cnt++;
                if (brake_cnt >= BRAKE_ON_COUNT) brake_active = 1;
            }
            else
            {
                brake_cnt = 0;
                if (ax > BRAKE_OFF_MG) brake_active = 0;
            }
        }
        else
        {
            brake_cnt = 0;
            brake_active = 0;   /* IMU 불량이면 추정 안 함 (IMU_OK 비트로 구분) */
        }

        uint8_t p[23];
        put_u32(&p[0], now);
        put_u16(&p[4],  (uint16_t)ax);
        put_u16(&p[6],  (uint16_t)ay);
        put_u16(&p[8],  (uint16_t)az);
        put_u16(&p[10], (uint16_t)gx);
        put_u16(&p[12], (uint16_t)gy);
        put_u16(&p[14], (uint16_t)gz);
        put_u16(&p[16], (uint16_t)ro);
        put_u16(&p[18], (uint16_t)pi);
        put_u16(&p[20], (uint16_t)ya);
        p[22] = (uint8_t)((imu_ok ? 0x01 : 0x00) | (brake_active ? 0x02 : 0x00));
        proto_send(MSG_IMU_DATA, p, 23);
    }
}

/* ===== OBD(Seeed Serial CAN-BUS 모듈) 관련 =====
   ELM327 AT 명령어가 아니라, 14바이트 전송/12바이트 수신의 바이너리 CAN 프레임 방식.
   USART6(huart6, PC6/PC7), 기본 baud 9600. */

/* 차량 없이도 모듈 자체가 살아있는지 확인하는 핑 테스트 (+++ -> OK 응답 기대).
   실차 연결 전이면 응답이 없을 수 있는데, 그건 정상이라 초기화 자체를 막지는 않는다. */
/* ===== OBD 초기화/폴링 (v2: 차 CAN 폭주 대응) =====
   중요: 이 모듈은 "데이터 모드"에서 차 버스에 흐르는 모든 CAN 프레임을 12바이트씩 UART로 계속 쏟아낸다(9600bps라 거의 포화).
   - 예전 코드의 "쌓인 글자 비우기" 루프는 글자가 계속 오면 영원히 끝나지 않아, 차에 꽂으면 부팅이 거기서 멈췄다.
   - 폭주 속에서는 12바이트 프레임 경계(간격 기준)를 못 찾으므로, 응답 패턴을 "미끄러지는 창"으로 찾는다.
   - "+++"는 앞뒤 1초 이상 UART 송신을 멈추고 개행 없이 보낸다. 응답에 SETTING MODE가 확인될 때만 AT+Q를 보낸다
     (확인 안 된 상태에서 AT+Q 같은 글자를 보내면 모듈이 14바이트 프레임 경계를 잃어 차 버스에 쓰레기 프레임을 쏠 수 있다). */
static uint8_t obd_wait_text(const char *key, uint32_t total_ms)
{
    uint8_t ch, m = 0;
    const uint8_t klen = (uint8_t)strlen(key);
    uint32_t t0 = HAL_GetTick();
    while ((HAL_GetTick() - t0) < total_ms)
    {
        if (HAL_UART_Receive(&huart6, &ch, 1, 20) != HAL_OK) continue;
        if (ch == (uint8_t)key[m]) { if (++m == klen) return 1; }
        else m = (ch == (uint8_t)key[0]) ? 1 : 0;
    }
    return 0;
}

static void obd_drain_bounded(uint32_t max_ms)
{
    uint8_t ch;
    uint32_t t0 = HAL_GetTick();
    while ((HAL_GetTick() - t0) < max_ms && HAL_UART_Receive(&huart6, &ch, 1, 2) == HAL_OK) {}
}

/* 모듈이 차 버스의 모든 프레임을 쏟아내지 않도록, 진단 응답 ID(0x7E8~0x7EF)만 받게 마스크/필터를 설정한다.
   설정 모드에서만 가능. 마스크 0x7F8 + 필터 0x7E8 -> 0x7E8~0x7EF만 통과.
   제조사 문서의 표기가 모호해서(대괄호가 글자인지 불명), 대괄호 없는 형식을 먼저 시도하고 ERROR면 대괄호 형식을 시도한다.
   저장(전원 껐다 켜도 유지) 여부는 문서에 없다 -> 부팅마다 다시 설정한다(여러 번 해도 무해). */
static uint8_t obd_cfg_cmd(const char *cmd)
{
    char m[96]; int l;
    HAL_UART_Transmit(&huart6, (uint8_t*)cmd, (uint16_t)strlen(cmd), 200);
    uint8_t ok = obd_wait_text("OK", 500);
    l = sprintf(m, "OBDCFG %.*s -> %s\r\n", (int)strlen(cmd) - 1, cmd, ok ? "OK" : "NO/ERROR");
    dbg_tx((uint8_t*)m, l, 100);
    return ok;
}

static void obd_set_filter(void)
{
    char cmd[40];
    uint8_t bracket = 0;

    sprintf(cmd, "AT+M=%d%d%08X\n", 0, 0, 0x7F8);
    if (!obd_cfg_cmd(cmd))
    {
        sprintf(cmd, "AT+M=[%d][%d][%08X]\n", 0, 0, 0x7F8);
        if (!obd_cfg_cmd(cmd)) return;       /* 두 형식 모두 실패: 필터 없이 계속 */
        bracket = 1;
    }
    for (int n = 1; n <= 1; n++)
    {
        sprintf(cmd, bracket ? "AT+M=[%d][%d][%08X]\n" : "AT+M=%d%d%08X\n", n, 0, 0x7F8);
        obd_cfg_cmd(cmd);
    }
    for (int n = 0; n <= 5; n++)
    {
        sprintf(cmd, bracket ? "AT+F=[%d][%d][%08X]\n" : "AT+F=%d%d%08X\n", n, 0, 0x7E8);
        obd_cfg_cmd(cmd);
    }
}

void obd_init(void)
{
    char m[64]; int l;

    obd_drain_bounded(50);
    HAL_Delay(1200);                                              /* +++ 앞 정지(guard time) */
    HAL_UART_Transmit(&huart6, (uint8_t*)"+++", 3, 200);          /* 개행 없음 */
    uint8_t ok1 = obd_wait_text("SETTING MODE", 3000);
    l = sprintf(m, "OBDLINK +++ %s\r\n", ok1 ? "OK (setting mode)" : "NO REPLY");
    dbg_tx((uint8_t*)m, l, 100);

    if (ok1)
    {
        obd_set_filter();
        HAL_UART_Transmit(&huart6, (uint8_t*)"AT+Q\n", 5, 200);
        uint8_t ok2 = obd_wait_text("DATA MODE", 1500);
        l = sprintf(m, "OBDLINK AT+Q %s\r\n", ok2 ? "OK (data mode)" : "NO REPLY");
        dbg_tx((uint8_t*)m, l, 100);
    }
    obd_drain_bounded(50);
}

/* ===== OBD 논블로킹 폴링 =====
   수신은 인터럽트로 링 버퍼에 쌓고, 메인 루프(obd_poll_task)는 "잠깐 훑고 바로 리턴"한다.
   PID 0x0D(차속): 0x7DF로 요청 -> 응답 ID 0x7E8~0x7EF, 데이터 [03 41 0D 속도 ...]
   수신 바이트 열에서 [00 00 07 E8~EF 03 41 0D 속도] 8바이트 패턴을 찾는다. */
#define OBD_RING_N        256         /* 2의 거듭제곱 */
#define OBD_RESP_TIMEOUT  300         /* 요청 후 응답 대기 한도(ms) */

static volatile uint8_t  obd_ring[OBD_RING_N];
static volatile uint8_t  obd_ring_head = 0, obd_ring_tail = 0;
static uint8_t  obd_rx_byte;
static uint8_t  obd_tx_buf[14];
static uint8_t  obd_win[8];           /* 최근 수신 8바이트 (미끄러지는 창) */
static uint8_t  obd_waiting = 0;      /* 1: 요청을 보내고 응답을 기다리는 중 */
static uint32_t obd_req_ms = 0;
static volatile uint32_t obd_raw_cnt = 0;   /* 진단: 모듈에서 받은 전체 바이트 수 */
static uint32_t obd_ok_cnt = 0;             /* 진단: 속도 응답 성공 횟수 */

void obd_rx_byte_isr(uint32_t now)
{
    (void)now;
    obd_raw_cnt++;
    uint8_t next = (uint8_t)((obd_ring_head + 1) & (OBD_RING_N - 1));
    if (next != obd_ring_tail)
    {
        obd_ring[obd_ring_head] = obd_rx_byte;
        obd_ring_head = next;
    }
    HAL_UART_Receive_IT(&huart6, &obd_rx_byte, 1);   /* 다음 1바이트 계속 수신 */
}

void obd_rx_start(void)
{
    HAL_UART_Receive_IT(&huart6, &obd_rx_byte, 1);
}

/* 요청 프레임(14바이트: ID4 + EXT + RTR + DATA8)을 인터럽트 방식으로 송신 시작. 성공 1 */
static uint8_t obd_start_request(uint32_t now)
{
    memset(obd_tx_buf, 0, sizeof(obd_tx_buf));
    obd_tx_buf[0] = 0x00; obd_tx_buf[1] = 0x00; obd_tx_buf[2] = 0x07; obd_tx_buf[3] = 0xDF;  /* ID 0x7DF */
    obd_tx_buf[4] = 0;    /* 표준 프레임 */
    obd_tx_buf[5] = 0;    /* 데이터 프레임 */
    obd_tx_buf[6]  = 0x02; obd_tx_buf[7] = 0x01; obd_tx_buf[8] = 0x0D;   /* 길이2, 서비스01, PID 0x0D */

    obd_ring_tail = obd_ring_head;   /* 옛 수신 데이터 버림 */
    memset(obd_win, 0xFF, sizeof(obd_win));
    if (HAL_UART_Transmit_IT(&huart6, obd_tx_buf, 14) != HAL_OK) return 0;
    obd_waiting = 1;
    obd_req_ms = now;
    return 1;
}

/* 메인 루프에서 매번 호출: 수신 바이트 검사 -> 성공/타임아웃 처리 -> 다음 요청 시점이면 요청 */
void obd_poll_task(void)
{
    uint32_t now = HAL_GetTick();

    /* [진단] 1초마다: 모듈에서 받은 바이트 수 / 속도 응답 성공 수 */
    {
        static uint32_t last_stat_ms = 0;
        if (now - last_stat_ms >= 1000)
        {
            last_stat_ms = now;
            char m[80];
            int l = sprintf(m, "OBDSTAT rx=%lu ok=%lu fail=%d\r\n",
                            (unsigned long)obd_raw_cnt, (unsigned long)obd_ok_cnt, obd_fail_count);
            dbg_tx((uint8_t*)m, l, 100);
        }
    }

    /* 1) 링 버퍼의 바이트를 창에 밀어 넣으며 응답 패턴 검사 */
    while (obd_ring_tail != obd_ring_head)
    {
        uint8_t b = obd_ring[obd_ring_tail];
        obd_ring_tail = (uint8_t)((obd_ring_tail + 1) & (OBD_RING_N - 1));

        if (!obd_waiting) continue;                 /* 요청 안 했을 때 온 데이터는 버림 */

        for (uint8_t i = 0; i < 7; i++) obd_win[i] = obd_win[i + 1];
        obd_win[7] = b;

        if (obd_win[0] == 0x00 && obd_win[1] == 0x00 && obd_win[2] == 0x07 && (obd_win[3] & 0xF8) == 0xE8 &&
            obd_win[4] == 0x03 && obd_win[5] == 0x41 && obd_win[6] == 0x0D)
        {
            if (obd_fail_count >= 3)
            {
                char m[] = "OBD responding again -> normal polling\r\n";
                dbg_tx((uint8_t*)m, strlen(m), 100);
            }
            obd_fail_count = 0;
            obd_ok_cnt++;
            last_ego_speed_kmh = obd_win[7];
            last_ego_speed_ms  = (now == 0) ? 1 : now;
            {
                char m[40];
                int l = sprintf(m, "OBD speed=%dkm/h\r\n", obd_win[7]);
                dbg_tx((uint8_t*)m, l, 100);
            }
            obd_waiting = 0;
            last_obd_poll = now;
            proto_send_obd();
            break;   /* 남은 바이트는 다음 요청 때 버려짐 */
        }
    }

    /* 2) 응답 대기 시간 초과 처리 (기다리지 않고 타이머로만 판단) */
    if (obd_waiting && (now - obd_req_ms) > OBD_RESP_TIMEOUT)
    {
        obd_waiting = 0;
        last_obd_poll = now;
        if (obd_fail_count < 255) obd_fail_count++;
        if (obd_fail_count == 3)
        {
            char m[] = "OBD no response x3 -> slow polling (3s)\r\n";
            dbg_tx((uint8_t*)m, strlen(m), 100);
        }
        proto_send_obd();
    }

    /* 3) 다음 요청 시점: 정상 300ms 주기, 응답이 3번 연속 없으면 3초 주기 */
    if (!obd_waiting)
    {
        uint32_t interval = (obd_fail_count >= 3) ? 3000 : 300;
        if ((now - last_obd_poll) >= interval)
        {
            if (!obd_start_request(now)) last_obd_poll = now;   /* 송신 시작 실패 시 다음 주기에 재시도 */
        }
    }
}
/* USER CODE END 4 */

void Error_Handler(void)
{
  __disable_irq();
  while (1)
  {
  }
}
